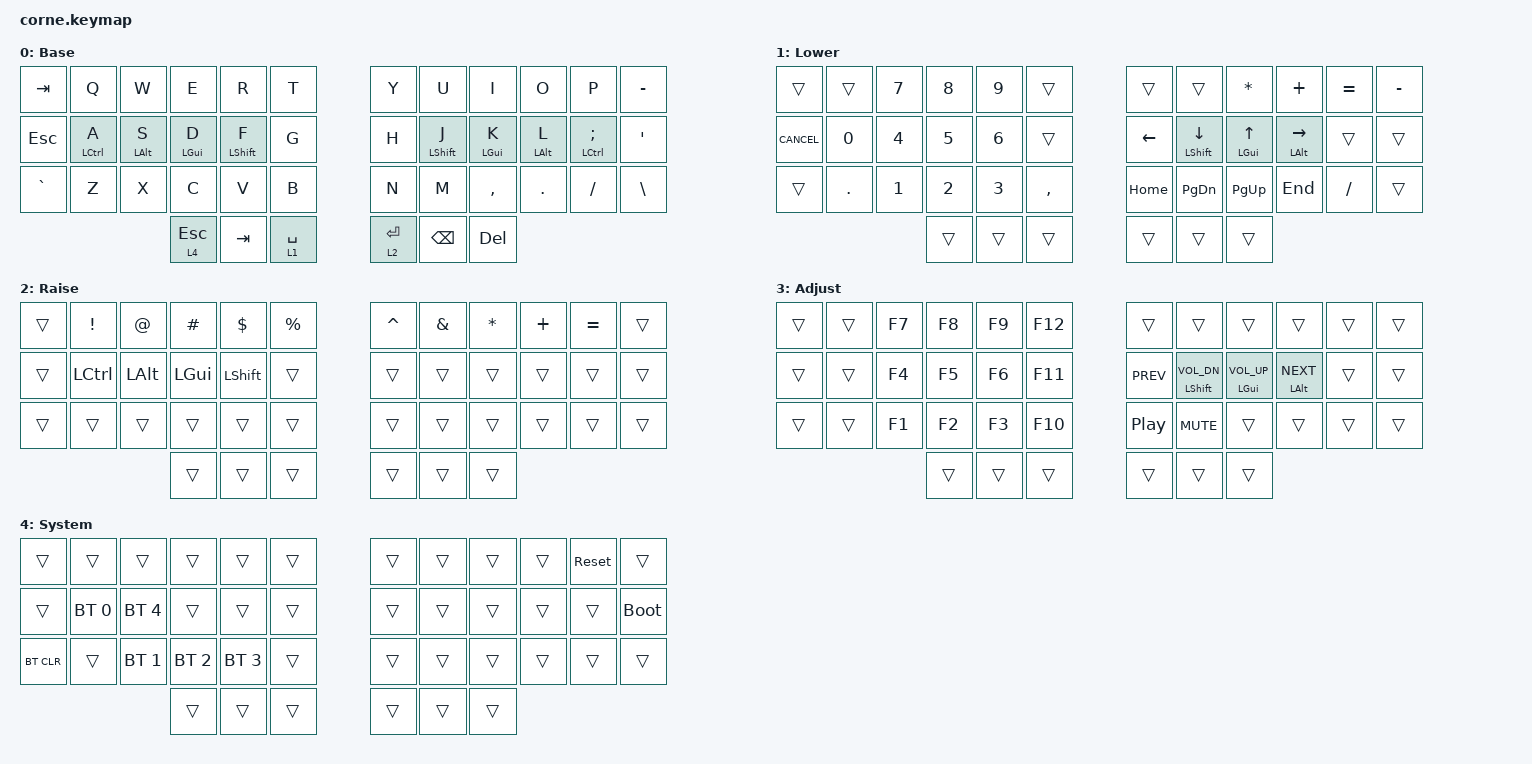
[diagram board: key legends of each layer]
// Corne 42-key keymap
// Layers:
//   0 — Base        (QWERTY + home row mods)
//   1 — Lower       (Numbers + Navigation)
//   2 — Raise       (Symbols)
//   3 — Adjust      (F-keys + Media)
//   4 — System      (Bluetooth)
//   5 — Reserved    (ZMK Studio)
//   6 — Reserved    (ZMK Studio)
//   7 — Reserved    (ZMK Studio)

#include <behaviors/num_word.dtsi>
#include <behaviors.dtsi>
#include <dt-bindings/zmk/bt.h>
#include <dt-bindings/zmk/keys.h>

// Key position groups for home row mod directionality

#define KEYS_L 0 1 2 3 4 5 12 13 14 15 16 17 24 25 26 27 28 29
#define KEYS_R 6 7 8 9 10 11 18 19 20 21 22 23 30 31 32 33 34 35
#define KEYS_T 36 37 38 39 40 41

/ {
    // -------------------------------------------------------------------------
    // Behaviors
    // -------------------------------------------------------------------------

    behaviors {
        hml: home_row_mod_left {
            compatible = "zmk,behavior-hold-tap";
            #binding-cells = <2>;

            // "balanced": registers hold as soon as another key is pressed AND
            // released within tapping-term. More responsive than "tap-preferred"
            // for cross-hand mod activation (e.g., F+I producing Shift+I, not "fi").
            // "tap-preferred": key sends tap unless held past tapping-term while
            // pressing an opposite-hand key. Safer against false positives but
            // requires deliberate holds for mods.

            flavor = "balanced";

            // How long (ms) a key must be held before it registers as hold (modifier).

            tapping-term-ms = <280>;

            // If the same key is tapped again within this window, always send tap.
            // Prevents mod activation during fast double-taps (e.g., "ff" in code).

            quick-tap-ms = <175>;

            // Ignore hold-tap entirely if a key was pressed less than this many ms ago.
            // Suppresses accidental mods during fast typing rolls like "as" or "df".
            // Rule of thumb: set to at least 10500/WPM (e.g., 60 WPM -> 175ms).
            // Reference: https://github.com/urob/zmk-config#timeless-homerow-mods

            require-prior-idle-ms = <150>;

            // Only trigger hold when a RIGHT-hand or THUMB key is pressed.

            hold-trigger-key-positions = <KEYS_R KEYS_T>;

            // Evaluate hold/tap at key release rather than on a timer.

            hold-trigger-on-release;
            bindings = <&kp>, <&kp>;
        };

        hmr: home_row_mod_right {
            compatible = "zmk,behavior-hold-tap";
            #binding-cells = <2>;
            flavor = "balanced";
            tapping-term-ms = <280>;
            quick-tap-ms = <175>;
            require-prior-idle-ms = <150>;

            // Only trigger hold when a LEFT-hand or THUMB key is pressed.

            hold-trigger-key-positions = <KEYS_L KEYS_T>;
            hold-trigger-on-release;
            bindings = <&kp>, <&kp>;
        };

        thl: thumb_layer {
            compatible = "zmk,behavior-hold-tap";
            #binding-cells = <2>;
            flavor = "balanced";
            tapping-term-ms = <280>;
            quick-tap-ms = <175>;
            require-prior-idle-ms = <150>;
            bindings = <&mo>, <&kp>;
        };
    };

    // -------------------------------------------------------------------------
    // Numword (auto-layer: stays active while typing numbers/operators,
    // deactivates on any other key — e.g., Esc or letters)
    // -------------------------------------------------------------------------
};

&num_word {
    continue-list = <
        BACKSPACE DELETE
        DOT COMMA
        PLUS MINUS STAR FSLH EQUAL
        LEFT DOWN UP RIGHT HOME END PG_DN PG_UP
    >;

    ignore-numbers;
    ignore-modifiers;
};

/ {
    // -------------------------------------------------------------------------
    // Conditional layers (tri-layer: Lower + Raise = Adjust)
    // -------------------------------------------------------------------------

    conditional_layers {
        compatible = "zmk,conditional-layers";

        tri_layer {
            if-layers = <1 2>;
            then-layer = <3>;
        };
    };

    // -------------------------------------------------------------------------
    // Combos
    // -------------------------------------------------------------------------
    // Combo timeout-ms is set to 40ms while building muscle memory.
    // Tighten to 30-35ms as accuracy improves to reduce accidental triggers.

    combos {
        compatible = "zmk,combos";

        combo_lpar {
            timeout-ms = <40>;
            require-prior-idle-ms = <80>;
            layers = <0>;
            key-positions = <15 16>;
            bindings = <&kp LEFT_PARENTHESIS>;
        };

        combo_rpar {
            timeout-ms = <40>;
            require-prior-idle-ms = <80>;
            layers = <0>;
            key-positions = <19 20>;
            bindings = <&kp RPAR>;
        };

        combo_lbkt {
            timeout-ms = <40>;
            require-prior-idle-ms = <80>;
            layers = <0>;
            key-positions = <14 16>;
            bindings = <&kp LBKT>;
        };

        combo_rbkt {
            timeout-ms = <40>;
            require-prior-idle-ms = <80>;
            layers = <0>;
            key-positions = <19 21>;
            bindings = <&kp RBKT>;
        };

        combo_lbrc {
            timeout-ms = <40>;
            require-prior-idle-ms = <80>;
            layers = <0>;
            key-positions = <13 16>;
            bindings = <&kp LBRC>;
        };

        combo_rbrc {
            timeout-ms = <40>;
            require-prior-idle-ms = <80>;
            layers = <0>;
            key-positions = <19 22>;
            bindings = <&kp RBRC>;
        };

        combo_caps_word {
            timeout-ms = <40>;
            require-prior-idle-ms = <80>;
            layers = <0>;
            key-positions = <16 19>;
            bindings = <&caps_word>;
        };

        combo_screenshot {
            timeout-ms = <40>;
            require-prior-idle-ms = <80>;
            layers = <0>;
            key-positions = <24 4>; // ` + R
            bindings = <&kp LG(LS(N4))>; // Cmd+Shift+4
        };

        combo_numword {
            timeout-ms = <40>;
            require-prior-idle-ms = <80>;
            layers = <0>;
            key-positions = <17 18>; // G + H
            bindings = <&num_word 1>; // activate Layer 1 (Lower)
        };

        combotest {
            bindings = <&kp A>;
            key-positions = <4 3>;
        };
    };

    // -------------------------------------------------------------------------
    // Keymap
    // -------------------------------------------------------------------------

    keymap {
        compatible = "zmk,keymap";

        // Layer 0 — Base (QWERTY + home row mods)

        base_layer {
            display-name = "Base";
            bindings = <
&kp TAB    &kp Q         &kp W        &kp E        &kp R         &kp T           &kp Y       &kp U         &kp I        &kp O        &kp P            &kp MINUS
&kp ESC    &hml LCTRL A  &hml LALT S  &hml LGUI D  &hml LSHFT F  &kp G           &kp H       &hmr LSHFT J  &hmr LGUI K  &hmr LALT L  &hmr LCTRL SEMI  &kp SQT
&kp GRAVE  &kp Z         &kp X        &kp C        &kp V         &kp B           &kp N       &kp M         &kp COMMA    &kp DOT      &kp FSLH         &kp BSLH
                                      &thl 4 ESC   &kp TAB       &thl 1 SPACE    &thl 2 RET  &kp BSPC      &kp DEL
            >;
        };

        // Layer 1 — Lower (Numbers + Navigation)

        lower_layer {
            display-name = "Lower";
            bindings = <
&trans        &trans   &kp N7  &kp N8  &kp N9  &trans       &trans    &trans           &kp ASTRK     &kp PLUS         &kp EQUAL  &kp MINUS
&kp K_CANCEL  &kp N0   &kp N4  &kp N5  &kp N6  &trans       &kp LEFT  &hmr LSHFT DOWN  &hmr LGUI UP  &hmr LALT RIGHT  &trans     &trans
&trans        &kp DOT  &kp N1  &kp N2  &kp N3  &kp COMMA    &kp HOME  &kp PG_DN        &kp PG_UP     &kp END          &kp FSLH   &trans
                               &trans  &trans  &trans       &trans    &trans           &trans
            >;
        };

        // Layer 2 — Raise (Symbols)

        raise_layer {
            display-name = "Raise";
            bindings = <
&trans  &kp EXCL   &kp AT    &kp HASH  &kp DLLR   &kp PRCNT    &kp CARET  &kp AMPS  &kp ASTRK  &kp PLUS  &kp EQUAL  &trans
&trans  &kp LCTRL  &kp LALT  &kp LGUI  &kp LSHFT  &trans       &trans     &trans    &trans     &trans    &trans     &trans
&trans  &trans     &trans    &trans    &trans     &trans       &trans     &trans    &trans     &trans    &trans     &trans
                             &trans    &trans     &trans       &trans     &trans    &trans
            >;
        };

        // Layer 3 — Adjust (F-keys + Media)

        adjust_layer {
            display-name = "Adjust";
            bindings = <
&trans  &trans  &kp F7  &kp F8  &kp F9  &kp F12    &trans      &trans               &trans              &trans            &trans  &trans
&trans  &trans  &kp F4  &kp F5  &kp F6  &kp F11    &kp C_PREV  &hmr LSHFT C_VOL_DN  &hmr LGUI C_VOL_UP  &hmr LALT C_NEXT  &trans  &trans
&trans  &trans  &kp F1  &kp F2  &kp F3  &kp F10    &kp C_PP    &kp C_MUTE           &trans              &trans            &trans  &trans
                        &trans  &trans  &trans     &trans      &trans               &trans
            >;
        };

        // Layer 4 — System (Bluetooth)

        system_layer {
            display-name = "System";
            bindings = <
&trans      &trans        &trans        &trans        &trans        &trans    &trans  &trans  &trans  &trans  &sys_reset  &trans
&trans      &bt BT_SEL 0  &bt BT_SEL 4  &trans        &trans        &trans    &trans  &trans  &trans  &trans  &trans      &bootloader
&bt BT_CLR  &trans        &bt BT_SEL 1  &bt BT_SEL 2  &bt BT_SEL 3  &trans    &trans  &trans  &trans  &trans  &trans      &trans
                                        &trans        &trans        &trans    &trans  &trans  &trans
            >;
        };

        // Layers 5-7 — Reserved for ZMK Studio runtime customization

        reserved_5 { status = "reserved"; };

        reserved_6 { status = "reserved"; };

        reserved_7 { status = "reserved"; };
    };
};
